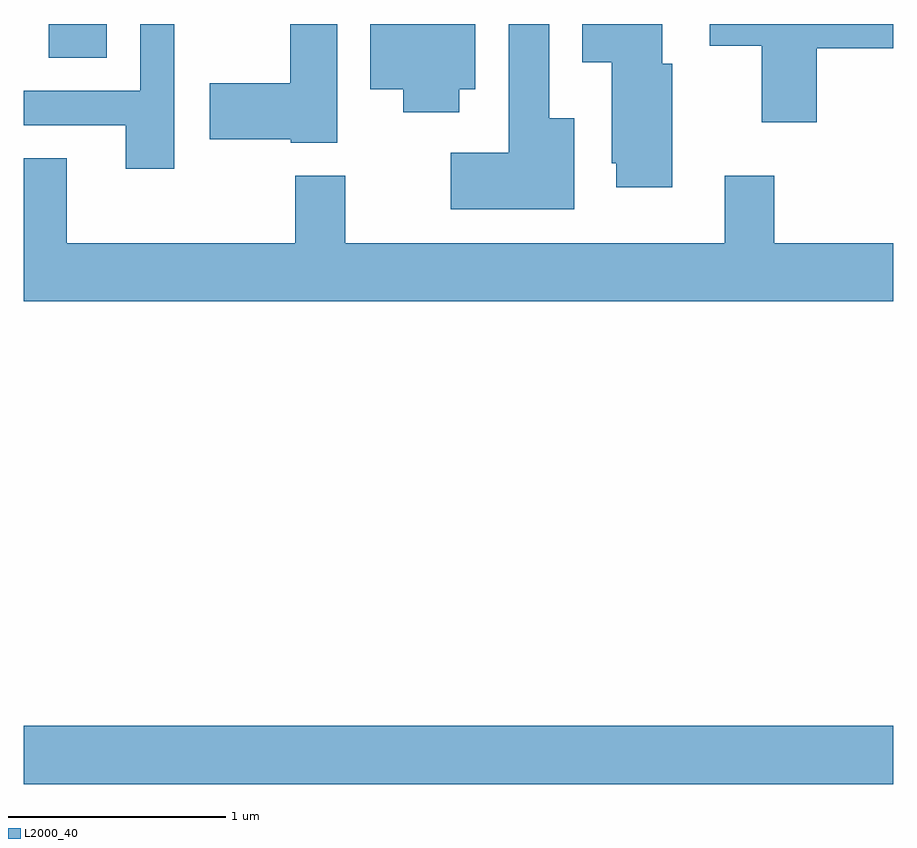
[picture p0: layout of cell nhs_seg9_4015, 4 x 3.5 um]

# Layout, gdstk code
import gdstk
lib = gdstk.Library(unit=1e-6, precision=1e-09)
def R(c, l, rs):  # rectangles x0, y0, x1, y1
    for r in rs: c.add(gdstk.rectangle(r[:2], r[2:], *l))
def P(c, l, *ps):  # polygons
    for p in ps: c.add(gdstk.Polygon(p, *l))
L2000_40 = (2000, 40)

nhs_seg9_4015 = lib.new_cell('nhs_seg9_4015')
R(nhs_seg9_4015, L2000_40, [(303.611,1982.936,307.611,1983.204), (303.726,1986.276,303.994,1986.432)])
P(nhs_seg9_4015, L2000_40, [(305.614,1986.131),(305.689,1986.131),(305.689,1986.432),(305.206,1986.432),(305.206,1986.131),(305.356,1986.131),(305.356,1986.026),(305.614,1986.026)],
  [(304.304,1986.432),(304.146,1986.432),(304.146,1986.124),(303.611,1986.124),(303.611,1985.966),(304.081,1985.966),(304.081,1985.766),(304.304,1985.766)],
  [(306.144,1985.999),(306.029,1985.999),(306.029,1986.432),(305.841,1986.432),(305.841,1985.839),(305.576,1985.839),(305.576,1985.581),(306.144,1985.581)],
  [(307.259,1986.321),(307.611,1986.321),(307.611,1986.432),(306.766,1986.432),(306.766,1986.331),(307.006,1986.331),(307.006,1985.981),(307.259,1985.981)],
  [(306.594,1986.249),(306.549,1986.249),(306.549,1986.432),(306.181,1986.432),(306.181,1986.256),(306.316,1986.256),(306.316,1985.791),(306.336,1985.791),(306.336,1985.681),(306.594,1985.681)],
  [(305.054,1986.432),(304.836,1986.432),(304.836,1986.159),(304.466,1986.159),(304.466,1985.901),(304.84,1985.901),(304.84,1985.886),(305.054,1985.886)],
  [(307.611,1985.424),(307.064,1985.424),(307.064,1985.734),(306.836,1985.734),(306.836,1985.424),(305.089,1985.424),(305.089,1985.734),(304.861,1985.734),(304.861,1985.424),(303.809,1985.424),(303.809,1985.814),(303.611,1985.814),(303.611,1985.156),(307.611,1985.156)])

lib.write_gds('nhs_seg9_4015.gds')
